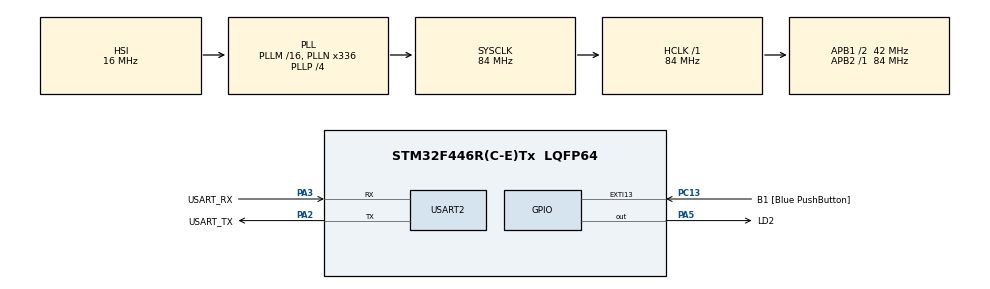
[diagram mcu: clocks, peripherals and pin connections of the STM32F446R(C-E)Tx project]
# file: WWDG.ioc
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Mcu.Family=STM32F4
Mcu.Name=STM32F446R(C-E)Tx
Mcu.Package=LQFP64
NVIC.PriorityGroup=NVIC_PRIORITYGROUP_0
PA13.GPIO_Label=TMS
PA13.Mode=Serial_Wire
PA13.Signal=SYS_JTMS-SWDIO
PA14.GPIO_Label=TCK
PA14.Mode=Serial_Wire
PA14.Signal=SYS_JTCK-SWCLK
PA2.GPIO_Label=USART_TX
PA2.Mode=Asynchronous
PA2.Signal=USART2_TX
PA3.GPIO_Label=USART_RX
PA3.Mode=Asynchronous
PA3.Signal=USART2_RX
PA5.GPIO_Label=LD2
PA5.Signal=GPIO_Output
PB3.GPIO_Label=SWO
PB3.Signal=SYS_JTDO-SWO
PC13.GPIO_Label=B1 [Blue PushButton]
PC13.GPIO_ModeDefaultEXTI=GPIO_MODE_IT_FALLING
PC13.Signal=GPXTI13
PC14-OSC32_IN.Signal=RCC_OSC32_IN
PC15-OSC32_OUT.Signal=RCC_OSC32_OUT
PH0-OSC_IN.Signal=RCC_OSC_IN
PH1-OSC_OUT.Signal=RCC_OSC_OUT
ProjectManager.HeapSize=0x200
ProjectManager.StackSize=0x400
ProjectManager.TargetToolchain=STM32CubeIDE
RCC.48MHZClocksFreq_Value=84000000
RCC.AHBFreq_Value=84000000
RCC.APB1CLKDivider=RCC_HCLK_DIV2
RCC.APB1Freq_Value=42000000
RCC.APB1TimFreq_Value=84000000
RCC.APB2Freq_Value=84000000
RCC.APB2TimFreq_Value=84000000
RCC.CortexFreq_Value=84000000
RCC.FLatency-AdvancedSettings=FLASH_LATENCY_2
RCC.HCLKFreq_Value=84000000
RCC.HSE_VALUE=8000000
RCC.HSI_VALUE=16000000
RCC.PLLN=336
RCC.PLLP=RCC_PLLP_DIV4
RCC.SYSCLKFreq_VALUE=84000000
RCC.SYSCLKSource=RCC_SYSCLKSOURCE_PLLCLK
RCC.USBFreq_Value=168000000
RCC.VCOOutputFreq_Value=336000000
USART2.VirtualMode=VM_ASYNC
VP_WWDG_VS_WWDG.Mode=WWDG_Activate
WWDG.Counter=127
WWDG.Prescaler=WWDG_PRESCALER_8
WWDG.Window=127
board=NUCLEO-F446RE

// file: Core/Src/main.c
/* USER CODE BEGIN Header */
/**
  ******************************************************************************
  * @file           : main.c
  * @brief          : Main program body
  ******************************************************************************
  * @attention
  *
  * Copyright (c) 2026 STMicroelectronics.
  * All rights reserved.
  *
  * This software is licensed under terms that can be found in the LICENSE file
  * in the root directory of this software component.
  * If no LICENSE file comes with this software, it is provided AS-IS.
  *
  ******************************************************************************
  */
/* USER CODE END Header */
#include "main.h"

UART_HandleTypeDef huart2;

WWDG_HandleTypeDef hwwdg;

void SystemClock_Config(void);
static void MX_GPIO_Init(void);
static void MX_USART2_UART_Init(void);
static void MX_WWDG_Init(void);

/* USER CODE BEGIN 0 */
#ifdef __GNUC__
#define PUTCHAR_PROTOTYPE int __io_putchar(int ch)
#else
#define PUTCHAR_PROTOTYPE int fputc(int ch, FILE *f)
#endif

PUTCHAR_PROTOTYPE
{
   if(ch == '\n')
       HAL_UART_Transmit (&huart2, (uint8_t*) "\r", 1, 0xFFFF);
   HAL_UART_Transmit (&huart2, (uint8_t*) &ch, 1, 0xFFFF);

   return ch;
}
/* USER CODE END 0 */

int main(void)
{

  /* MCU Configuration--------------------------------------------------------*/

  /* Reset of all peripherals, Initializes the Flash interface and the Systick. */
  HAL_Init();

  /* Configure the system clock */
  SystemClock_Config();

  /* Initialize all configured peripherals */
  MX_GPIO_Init();
  MX_USART2_UART_Init();
  MX_WWDG_Init();

  /* Infinite loop */
  /* USER CODE BEGIN WHILE */

  uint8_t i=0;

  while (1)
  {
	  if(i==20)
	  {
		  i=0;
		  HAL_GPIO_TogglePin(LD2_GPIO_Port, LD2_Pin);
	  }

	  HAL_Delay(25);
	  i++;

	  //와치독 리프레쉬
	  if (HAL_WWDG_Refresh(&hwwdg)!=HAL_OK)
		{
			Error_Handler();
		}
    /* USER CODE END WHILE */

  }
}

void SystemClock_Config(void)
{
  RCC_OscInitTypeDef RCC_OscInitStruct = {0};
  RCC_ClkInitTypeDef RCC_ClkInitStruct = {0};

  /** Configure the main internal regulator output voltage
  */
  __HAL_RCC_PWR_CLK_ENABLE();
  __HAL_PWR_VOLTAGESCALING_CONFIG(PWR_REGULATOR_VOLTAGE_SCALE3);

  /** Initializes the RCC Oscillators according to the specified parameters
  * in the RCC_OscInitTypeDef structure.
  */
  RCC_OscInitStruct.OscillatorType = RCC_OSCILLATORTYPE_HSI;
  RCC_OscInitStruct.HSIState = RCC_HSI_ON;
  RCC_OscInitStruct.HSICalibrationValue = RCC_HSICALIBRATION_DEFAULT;
  RCC_OscInitStruct.PLL.PLLState = RCC_PLL_ON;
  RCC_OscInitStruct.PLL.PLLSource = RCC_PLLSOURCE_HSI;
  RCC_OscInitStruct.PLL.PLLM = 16;
  RCC_OscInitStruct.PLL.PLLN = 336;
  RCC_OscInitStruct.PLL.PLLP = RCC_PLLP_DIV4;
  RCC_OscInitStruct.PLL.PLLQ = 2;
  RCC_OscInitStruct.PLL.PLLR = 2;
  if (HAL_RCC_OscConfig(&RCC_OscInitStruct) != HAL_OK)
  {
    Error_Handler();
  }

  /** Initializes the CPU, AHB and APB buses clocks
  */
  RCC_ClkInitStruct.ClockType = RCC_CLOCKTYPE_HCLK|RCC_CLOCKTYPE_SYSCLK
                              |RCC_CLOCKTYPE_PCLK1|RCC_CLOCKTYPE_PCLK2;
  RCC_ClkInitStruct.SYSCLKSource = RCC_SYSCLKSOURCE_PLLCLK;
  RCC_ClkInitStruct.AHBCLKDivider = RCC_SYSCLK_DIV1;
  RCC_ClkInitStruct.APB1CLKDivider = RCC_HCLK_DIV2;
  RCC_ClkInitStruct.APB2CLKDivider = RCC_HCLK_DIV1;

  if (HAL_RCC_ClockConfig(&RCC_ClkInitStruct, FLASH_LATENCY_2) != HAL_OK)
  {
    Error_Handler();
  }
}

static void MX_USART2_UART_Init(void)
{

  huart2.Instance = USART2;
  huart2.Init.BaudRate = 115200;
  huart2.Init.WordLength = UART_WORDLENGTH_8B;
  huart2.Init.StopBits = UART_STOPBITS_1;
  huart2.Init.Parity = UART_PARITY_NONE;
  huart2.Init.Mode = UART_MODE_TX_RX;
  huart2.Init.HwFlowCtl = UART_HWCONTROL_NONE;
  huart2.Init.OverSampling = UART_OVERSAMPLING_16;
  if (HAL_UART_Init(&huart2) != HAL_OK)
  {
    Error_Handler();
  }

}

static void MX_WWDG_Init(void)
{

  hwwdg.Instance = WWDG;
  hwwdg.Init.Prescaler = WWDG_PRESCALER_8;
  hwwdg.Init.Window = 127;
  hwwdg.Init.Counter = 127;
  hwwdg.Init.EWIMode = WWDG_EWI_DISABLE;
  if (HAL_WWDG_Init(&hwwdg) != HAL_OK)
  {
    Error_Handler();
  }

}

static void MX_GPIO_Init(void)
{
  GPIO_InitTypeDef GPIO_InitStruct = {0};

  /* GPIO Ports Clock Enable */
  __HAL_RCC_GPIOC_CLK_ENABLE();
  __HAL_RCC_GPIOH_CLK_ENABLE();
  __HAL_RCC_GPIOA_CLK_ENABLE();
  __HAL_RCC_GPIOB_CLK_ENABLE();

  /*Configure GPIO pin Output Level */
  HAL_GPIO_WritePin(LD2_GPIO_Port, LD2_Pin, GPIO_PIN_RESET);

  /*Configure GPIO pin : B1_Pin */
  GPIO_InitStruct.Pin = B1_Pin;
  GPIO_InitStruct.Mode = GPIO_MODE_IT_FALLING;
  GPIO_InitStruct.Pull = GPIO_NOPULL;
  HAL_GPIO_Init(B1_GPIO_Port, &GPIO_InitStruct);

  /*Configure GPIO pin : LD2_Pin */
  GPIO_InitStruct.Pin = LD2_Pin;
  GPIO_InitStruct.Mode = GPIO_MODE_OUTPUT_PP;
  GPIO_InitStruct.Pull = GPIO_NOPULL;
  GPIO_InitStruct.Speed = GPIO_SPEED_FREQ_LOW;
  HAL_GPIO_Init(LD2_GPIO_Port, &GPIO_InitStruct);

}

void Error_Handler(void)
{
  __disable_irq();
  while (1)
  {
  }
}
